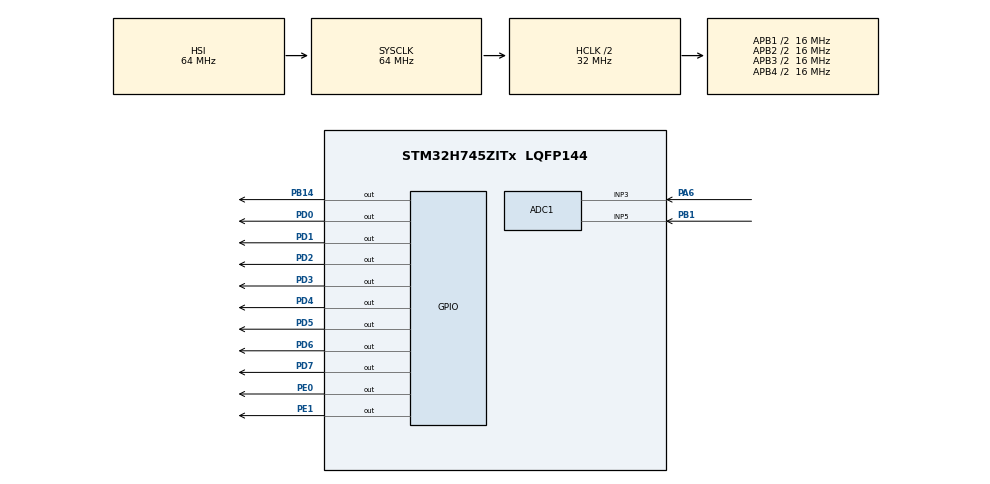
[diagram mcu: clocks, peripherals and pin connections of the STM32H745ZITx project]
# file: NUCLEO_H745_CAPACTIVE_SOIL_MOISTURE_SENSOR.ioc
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ADC1.Channel-0\#ChannelRegularConversion=ADC_CHANNEL_3
ADC1.Channel-1\#ChannelRegularConversion=ADC_CHANNEL_5
ADC1.ContinuousConvMode=DISABLE
ADC1.NbrOfConversion=2
ADC1.NbrOfConversionFlag=1
ADC1.OffsetNumber-0\#ChannelRegularConversion=ADC_OFFSET_NONE
ADC1.OffsetNumber-1\#ChannelRegularConversion=ADC_OFFSET_NONE
ADC1.OffsetSignedSaturation-0\#ChannelRegularConversion=DISABLE
ADC1.OffsetSignedSaturation-1\#ChannelRegularConversion=DISABLE
ADC1.Rank-0\#ChannelRegularConversion=1
ADC1.Rank-1\#ChannelRegularConversion=2
ADC1.SamplingTime-0\#ChannelRegularConversion=ADC_SAMPLETIME_2CYCLES_5
ADC1.SamplingTime-1\#ChannelRegularConversion=ADC_SAMPLETIME_2CYCLES_5
ADC1.master=1
CORTEX_M7.CPU_DCache=Enabled
CORTEX_M7.CPU_ICache=Enabled
CortexM4.IPs=FATFS_M4\:I,FREERTOS_M4\:I,IWDG2\:I,RCC,WWDG2\:I,DMA,BDMA,MDMA,NVIC2\:I,USART3,ETH,DEBUG,USB_DEVICE_M4\:I,USB_HOST_M4\:I,PDM2PCM_M4\:I,PWR,RESMGR_UTILITY,SYS_M4\:I,CORTEX_M4\:I,OPENAMP_M4\:I,VREFBUF
CortexM4.Pins=PE1
CortexM7.IPs=FATFS_M7\:I,FREERTOS_M7\:I,IWDG1\:I,RCC\:I,WWDG1\:I,DMA\:I,BDMA\:I,MDMA\:I,NVIC1\:I,SYS\:I,USART3\:I,USB_OTG_FS\:I,ETH\:I,CORTEX_M7\:I,DEBUG\:I,USB_DEVICE_M7\:I,USB_HOST_M7\:I,PDM2PCM_M7\:I,PWR\:I,RESMGR_UTILITY\:I,OPENAMP_M7\:I,VREFBUF\:I,TIM1\:I,TIM2\:I,ADC1\:I
CortexM7.Pins=PB14,PD0,PD1,PD2,PD3,PD4,PD5,PD6,PD7,PE0
Mcu.Family=STM32H7
Mcu.Name=STM32H745ZITx
Mcu.Package=LQFP144
NVIC1.PriorityGroup=NVIC_PRIORITYGROUP_4
NVIC2.PriorityGroup=NVIC_PRIORITYGROUP_4
PA6.PinAttribute=CortexM7
PA6.Signal=ADCx_INP3
PB1.PinAttribute=CortexM7
PB1.Signal=ADCx_INP5
PB14.PinAttribute=CortexM7
PB14.Signal=GPIO_Output
PD0.PinAttribute=CortexM7
PD0.PinState=GPIO_PIN_RESET
PD0.Signal=GPIO_Output
PD1.PinAttribute=CortexM7
PD1.Signal=GPIO_Output
PD2.PinAttribute=CortexM7
PD2.Signal=GPIO_Output
PD3.PinAttribute=CortexM7
PD3.Signal=GPIO_Output
PD4.PinAttribute=CortexM7
PD4.Signal=GPIO_Output
PD5.PinAttribute=CortexM7
PD5.Signal=GPIO_Output
PD6.PinAttribute=CortexM7
PD6.Signal=GPIO_Output
PD7.PinAttribute=CortexM7
PD7.Signal=GPIO_Output
PE0.PinAttribute=CortexM7
PE0.Signal=GPIO_Output
PE1.PinAttribute=CortexM4
PE1.Signal=GPIO_Output
ProjectManager.HeapSize=M4-0x200,M7-0x200
ProjectManager.StackSize=M4-0x400,M7-0x400
ProjectManager.TargetToolchain=STM32CubeIDE
RCC.ADCFreq_Value=32000000
RCC.APB1Freq_Value=16000000
RCC.APB2Freq_Value=16000000
RCC.APB3Freq_Value=16000000
RCC.APB4Freq_Value=16000000
RCC.CortexFreq_Value=64000000
RCC.D1PPRE=RCC_APB3_DIV2
RCC.D2PPRE1=RCC_APB1_DIV2
RCC.D2PPRE2=RCC_APB2_DIV2
RCC.D3PPRE=RCC_APB4_DIV2
RCC.DIVM1=5
RCC.DIVM2=4
RCC.DIVM3=1
RCC.DIVN1=160
RCC.DIVN2=10
RCC.DIVN3=24
RCC.DIVP2=5
RCC.DIVQ3=4
RCC.HCLKFreq_Value=32000000
RCC.HPRE=RCC_HCLK_DIV2
RCC.HSE_VALUE=25000000
RCC.PLL2FRACN=0
RCC.PLL3FRACN=0
RCC.PLLFRACN=0
RCC.SYSCLKFreq_VALUE=64000000
RCC.SupplySource=PWR_DIRECT_SMPS_SUPPLY
RCC.USBCLockSelection=RCC_USBCLKSOURCE_PLL3
RCC.USBFreq_Value=384000000
SH.ADCx_INP3.0=ADC1_INP3,IN3-Single-Ended
SH.ADCx_INP5.0=ADC1_INP5,IN5-Single-Ended
TIM1.Prescaler=1-1
TIM2.Period=4294967296-1
TIM2.Prescaler=32-1
VP_SYS_M4_VS_Systick.Mode=SysTick
VP_TIM1_VS_ClockSourceINT.Mode=Internal
VP_TIM2_VS_ClockSourceINT.Mode=Internal
board=NUCLEO-H745ZI-Q

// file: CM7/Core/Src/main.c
/* USER CODE BEGIN Header */
/**
  ******************************************************************************
  * @file           : main.c
  * @brief          : Main program body
  ******************************************************************************
  * @attention
  *
  * <h2><center>&copy; Copyright (c) 2021 STMicroelectronics.
  * All rights reserved.</center></h2>
  *
  * This software component is licensed by ST under BSD 3-Clause license,
  * the "License"; You may not use this file except in compliance with the
  * License. You may obtain a copy of the License at:
  *                        opensource.org/licenses/BSD-3-Clause
  *
  ******************************************************************************
  */
/* USER CODE END Header */
#include "main.h"

/* USER CODE BEGIN Includes */

#include "dht11_temp_sensor.h"
#include "nhd_20x4_LCD.h"
#include "DFRobot_soil_sensor.h"

/* USER CODE END Includes */

/* USER CODE BEGIN PD */

#ifndef HSEM_ID_0
#define HSEM_ID_0 (0U) /* HW semaphore 0*/
#endif
/* USER CODE END PD */

TIM_HandleTypeDef htim1;
TIM_HandleTypeDef htim2;

void SystemClock_Config(void);
static void MX_GPIO_Init(void);
static void MX_TIM1_Init(void);
static void MX_TIM2_Init(void);
static void MX_ADC1_Init(void);
/* USER CODE BEGIN PFP */

void Display_Temp_Rh (float,float);
void Display_Rh (float);
void Display_Soil_Moisture (int,int);
void poll_SOIL_SENSOR(void);

/* USER CODE END PFP */

/* USER CODE BEGIN 0 */

void Display_Temp_Rh(float Temp, float Rh)
{
	char str_temp[15] = {0},
			str_Rh[15] = {0};
	//lcd_clear();
	lcd_put_cur(0, 0);

	sprintf (str_temp, "TEMP: %.1f", Temp);
	sprintf (str_Rh, "RH: %.0f", Rh);
	lcd_send_string(str_temp);
	lcd_send_data('C');
	lcd_put_cur(1, 0);
	lcd_send_string(str_Rh);
	lcd_send_data('%');
}

void Display_Soil_Moisture(int Sensor1,int Sensor2)
{
	char str_1[20], str_2[20];

	lcd_put_cur(0, 0);

	sprintf (str_1, "SoilSensor1: %i ", Sensor1);
	sprintf (str_2, "SoilSensor2: %i ", Sensor2);
	lcd_send_string(str_1);
	lcd_put_cur(1, 0);
	lcd_send_string(str_2);
	HAL_GPIO_TogglePin(GPIOB, GPIO_PIN_14); //Debugging LED
	//lcd_send_data('%');
}

void Display_Rh(float Rh) //display Rh after temp
{
	char str[20] = {0};
	lcd_put_cur(1, 0);

	sprintf (str, "RH:- %.0f ", Rh);
	lcd_send_string(str);
	lcd_send_data('%');
}

/* USER CODE END 0 */

int main(void)
{
/* USER CODE BEGIN Boot_Mode_Sequence_0 */
  int32_t timeout;
/* USER CODE END Boot_Mode_Sequence_0 */

  /* Enable I-Cache---------------------------------------------------------*/
  SCB_EnableICache();

  /* Enable D-Cache---------------------------------------------------------*/
  SCB_EnableDCache();

/* USER CODE BEGIN Boot_Mode_Sequence_1 */
  /* Wait until CPU2 boots and enters in stop mode or timeout*/
//  timeout = 0xFFFF;
//  while((__HAL_RCC_GET_FLAG(RCC_FLAG_D2CKRDY) != RESET) && (timeout-- > 0));
//  if ( timeout < 0 )
//  {
//  Error_Handler();
//  }
/* USER CODE END Boot_Mode_Sequence_1 */
  /* MCU Configuration--------------------------------------------------------*/

  /* Reset of all peripherals, Initializes the Flash interface and the Systick. */
  HAL_Init();

  /* Configure the system clock */
  SystemClock_Config();
/* USER CODE BEGIN Boot_Mode_Sequence_2 */
/* When system initialization is finished, Cortex-M7 will release Cortex-M4 by means of
HSEM notification */
/*HW semaphore Clock enable*/
__HAL_RCC_HSEM_CLK_ENABLE();
/*Take HSEM */
//HAL_HSEM_FastTake(HSEM_ID_0);
///*Release HSEM in order to notify the CPU2(CM4)*/
//HAL_HSEM_Release(HSEM_ID_0,0);
///* wait until CPU2 wakes up from stop mode */
//timeout = 0xFFFF;
//while((__HAL_RCC_GET_FLAG(RCC_FLAG_D2CKRDY) == RESET) && (timeout-- > 0));
//if ( timeout < 0 )
//{
//Error_Handler();
//}
/* USER CODE END Boot_Mode_Sequence_2 */

  /* Initialize all configured peripherals */
  MX_GPIO_Init();
  MX_TIM1_Init();
  MX_TIM2_Init();
  MX_ADC1_Init();
  /* USER CODE BEGIN 2 */

  nhd_LCD_Init();
  lcd_put_cur(0,1);
  lcd_send_string("hiiiii there");				//LCD splashscreen
  HAL_GPIO_WritePin (DHT11_PORT, DHT11_PIN, 1); // pull the pin high for initial config routine
  HAL_Delay(3000);								//wait 3 seconds
  //delay_TEST();

  /* USER CODE END 2 */

  /* Infinite loop */
  while(1)
  {

    /* USER CODE BEGIN 3 */
	  lcd_clear();
	  poll_DHT11();
	  Display_Temp_Rh(Temperature,Humidity);
	  //Display_Rh(Humidity);
	  HAL_Delay(2000);			//display temp data for 4 seconds
	  lcd_clear();
	  poll_SOIL_SENSOR_1_2();
	  Display_Soil_Moisture(SoilSensor1,SoilSensor2);
	  HAL_Delay(2000);			//display  soil data for 4 seconds

  }
  /* USER CODE END 3 */
}

void SystemClock_Config(void)
{
  RCC_OscInitTypeDef RCC_OscInitStruct = {0};
  RCC_ClkInitTypeDef RCC_ClkInitStruct = {0};

  /** Supply configuration update enable
  */
  HAL_PWREx_ConfigSupply(PWR_DIRECT_SMPS_SUPPLY);
  /** Configure the main internal regulator output voltage
  */
  __HAL_PWR_VOLTAGESCALING_CONFIG(PWR_REGULATOR_VOLTAGE_SCALE3);

  while(!__HAL_PWR_GET_FLAG(PWR_FLAG_VOSRDY)) {}
  /** Macro to configure the PLL clock source
  */
  __HAL_RCC_PLL_PLLSOURCE_CONFIG(RCC_PLLSOURCE_HSI);
  /** Initializes the RCC Oscillators according to the specified parameters
  * in the RCC_OscInitTypeDef structure.
  */
  RCC_OscInitStruct.OscillatorType = RCC_OSCILLATORTYPE_HSI;
  RCC_OscInitStruct.HSIState = RCC_HSI_DIV1;
  RCC_OscInitStruct.HSICalibrationValue = RCC_HSICALIBRATION_DEFAULT;
  RCC_OscInitStruct.PLL.PLLState = RCC_PLL_NONE;
  RCC_OscInitStruct.PLL.PLLSource = RCC_PLLSOURCE_HSI;
  if (HAL_RCC_OscConfig(&RCC_OscInitStruct) != HAL_OK)
  {
    Error_Handler();
  }
  /** Initializes the CPU, AHB and APB buses clocks
  */
  RCC_ClkInitStruct.ClockType = RCC_CLOCKTYPE_HCLK|RCC_CLOCKTYPE_SYSCLK
                              |RCC_CLOCKTYPE_PCLK1|RCC_CLOCKTYPE_PCLK2
                              |RCC_CLOCKTYPE_D3PCLK1|RCC_CLOCKTYPE_D1PCLK1;
  RCC_ClkInitStruct.SYSCLKSource = RCC_SYSCLKSOURCE_HSI;
  RCC_ClkInitStruct.SYSCLKDivider = RCC_SYSCLK_DIV1;
  RCC_ClkInitStruct.AHBCLKDivider = RCC_HCLK_DIV2;
  RCC_ClkInitStruct.APB3CLKDivider = RCC_APB3_DIV2;
  RCC_ClkInitStruct.APB1CLKDivider = RCC_APB1_DIV2;
  RCC_ClkInitStruct.APB2CLKDivider = RCC_APB2_DIV2;
  RCC_ClkInitStruct.APB4CLKDivider = RCC_APB4_DIV2;

  if (HAL_RCC_ClockConfig(&RCC_ClkInitStruct, FLASH_LATENCY_0) != HAL_OK)
  {
    Error_Handler();
  }
}

static void MX_ADC1_Init(void)
{

  ADC_MultiModeTypeDef multimode = {0};
  ADC_ChannelConfTypeDef sConfig = {0};

  /** Common config
  */
  hadc1.Instance = ADC1;
  hadc1.Init.ClockPrescaler = ADC_CLOCK_ASYNC_DIV1;
  hadc1.Init.Resolution = ADC_RESOLUTION_16B;
  hadc1.Init.ScanConvMode = ADC_SCAN_ENABLE;
  hadc1.Init.EOCSelection = ADC_EOC_SINGLE_CONV;
  hadc1.Init.LowPowerAutoWait = DISABLE;
  hadc1.Init.ContinuousConvMode = DISABLE;
  hadc1.Init.NbrOfConversion = 1;
  hadc1.Init.DiscontinuousConvMode = DISABLE;
  hadc1.Init.ExternalTrigConv = ADC_SOFTWARE_START;
  hadc1.Init.ExternalTrigConvEdge = ADC_EXTERNALTRIGCONVEDGE_NONE;
  hadc1.Init.ConversionDataManagement = ADC_CONVERSIONDATA_DR;
  hadc1.Init.Overrun = ADC_OVR_DATA_PRESERVED;
  hadc1.Init.LeftBitShift = ADC_LEFTBITSHIFT_NONE;
  hadc1.Init.OversamplingMode = DISABLE;
  if (HAL_ADC_Init(&hadc1) != HAL_OK)
  {
    Error_Handler();
  }
  /** Configure the ADC multi-mode
  */
/*  multimode.Mode = ADC_MODE_INDEPENDENT;
  if (HAL_ADCEx_MultiModeConfigChannel(&hadc1, &multimode) != HAL_OK)
  {
    Error_Handler();
  }
  * Configure Regular Channel

  sConfig.Channel = ADC_CHANNEL_3;
  sConfig.Rank = ADC_REGULAR_RANK_1;
  sConfig.SamplingTime = ADC_SAMPLETIME_2CYCLES_5;
  sConfig.SingleDiff = ADC_SINGLE_ENDED;
  sConfig.OffsetNumber = ADC_OFFSET_NONE;
  sConfig.Offset = 0;
  sConfig.OffsetSignedSaturation = DISABLE;
  if (HAL_ADC_ConfigChannel(&hadc1, &sConfig) != HAL_OK)
  {
    Error_Handler();
  }
  * Configure Regular Channel

  sConfig.Channel = ADC_CHANNEL_5;
  sConfig.Rank = ADC_REGULAR_RANK_2;
  if (HAL_ADC_ConfigChannel(&hadc1, &sConfig) != HAL_OK)
  {
    Error_Handler();
  }*/

}

static void MX_TIM1_Init(void)
{

  TIM_ClockConfigTypeDef sClockSourceConfig = {0};
  TIM_MasterConfigTypeDef sMasterConfig = {0};

  htim1.Instance = TIM1;
  htim1.Init.Prescaler = 1-1;
  htim1.Init.CounterMode = TIM_COUNTERMODE_UP;
  htim1.Init.Period = 65535;
  htim1.Init.ClockDivision = TIM_CLOCKDIVISION_DIV1;
  htim1.Init.RepetitionCounter = 0;
  htim1.Init.AutoReloadPreload = TIM_AUTORELOAD_PRELOAD_DISABLE;
  if (HAL_TIM_Base_Init(&htim1) != HAL_OK)
  {
    Error_Handler();
  }
  sClockSourceConfig.ClockSource = TIM_CLOCKSOURCE_INTERNAL;
  if (HAL_TIM_ConfigClockSource(&htim1, &sClockSourceConfig) != HAL_OK)
  {
    Error_Handler();
  }
  sMasterConfig.MasterOutputTrigger = TIM_TRGO_RESET;
  sMasterConfig.MasterOutputTrigger2 = TIM_TRGO2_RESET;
  sMasterConfig.MasterSlaveMode = TIM_MASTERSLAVEMODE_DISABLE;
  if (HAL_TIMEx_MasterConfigSynchronization(&htim1, &sMasterConfig) != HAL_OK)
  {
    Error_Handler();
  }

}

static void MX_TIM2_Init(void)
{

  TIM_ClockConfigTypeDef sClockSourceConfig = {0};
  TIM_MasterConfigTypeDef sMasterConfig = {0};

  htim2.Instance = TIM2;
  htim2.Init.Prescaler = 32-1;
  htim2.Init.CounterMode = TIM_COUNTERMODE_UP;
  htim2.Init.Period = 4294967296-1;
  htim2.Init.ClockDivision = TIM_CLOCKDIVISION_DIV1;
  htim2.Init.AutoReloadPreload = TIM_AUTORELOAD_PRELOAD_DISABLE;
  if (HAL_TIM_Base_Init(&htim2) != HAL_OK)
  {
    Error_Handler();
  }
  sClockSourceConfig.ClockSource = TIM_CLOCKSOURCE_INTERNAL;
  if (HAL_TIM_ConfigClockSource(&htim2, &sClockSourceConfig) != HAL_OK)
  {
    Error_Handler();
  }
  sMasterConfig.MasterOutputTrigger = TIM_TRGO_RESET;
  sMasterConfig.MasterSlaveMode = TIM_MASTERSLAVEMODE_DISABLE;
  if (HAL_TIMEx_MasterConfigSynchronization(&htim2, &sMasterConfig) != HAL_OK)
  {
    Error_Handler();
  }

}

static void MX_GPIO_Init(void)
{
  GPIO_InitTypeDef GPIO_InitStruct = {0};

  /* GPIO Ports Clock Enable */
  __HAL_RCC_GPIOA_CLK_ENABLE();
  __HAL_RCC_GPIOB_CLK_ENABLE();
  __HAL_RCC_GPIOD_CLK_ENABLE();
  __HAL_RCC_GPIOE_CLK_ENABLE();

  /*Configure GPIO pin Output Level */
  HAL_GPIO_WritePin(GPIOB, GPIO_PIN_14, GPIO_PIN_RESET);

  /*Configure GPIO pin Output Level */
  HAL_GPIO_WritePin(GPIOD, GPIO_PIN_0|GPIO_PIN_1|GPIO_PIN_2|GPIO_PIN_3
                          |GPIO_PIN_4|GPIO_PIN_5|GPIO_PIN_6|GPIO_PIN_7, GPIO_PIN_RESET);

  /*Configure GPIO pin Output Level */
  HAL_GPIO_WritePin(GPIOE, GPIO_PIN_0, GPIO_PIN_RESET);

  /*Configure GPIO pin : PB14 */
  GPIO_InitStruct.Pin = GPIO_PIN_14;
  GPIO_InitStruct.Mode = GPIO_MODE_OUTPUT_PP;
  GPIO_InitStruct.Pull = GPIO_NOPULL;
  GPIO_InitStruct.Speed = GPIO_SPEED_FREQ_LOW;
  HAL_GPIO_Init(GPIOB, &GPIO_InitStruct);

  /*Configure GPIO pins : PD0 PD1 PD2 PD3
                           PD4 PD5 PD6 PD7 */
  GPIO_InitStruct.Pin = GPIO_PIN_0|GPIO_PIN_1|GPIO_PIN_2|GPIO_PIN_3
                          |GPIO_PIN_4|GPIO_PIN_5|GPIO_PIN_6|GPIO_PIN_7;
  GPIO_InitStruct.Mode = GPIO_MODE_OUTPUT_PP;
  GPIO_InitStruct.Pull = GPIO_NOPULL;
  GPIO_InitStruct.Speed = GPIO_SPEED_FREQ_LOW;
  HAL_GPIO_Init(GPIOD, &GPIO_InitStruct);

  /*Configure GPIO pin : PE0 */
  GPIO_InitStruct.Pin = GPIO_PIN_0;
  GPIO_InitStruct.Mode = GPIO_MODE_OUTPUT_PP;
  GPIO_InitStruct.Pull = GPIO_NOPULL;
  GPIO_InitStruct.Speed = GPIO_SPEED_FREQ_LOW;
  HAL_GPIO_Init(GPIOE, &GPIO_InitStruct);

}

/* USER CODE BEGIN 4 */

// Callback: timer has rolled over
void HAL_TIM_PeriodElapsedCallback(TIM_HandleTypeDef *htim)
{
  // Check which version of the timer triggered this callback and toggle LED
	if (htim == &htim2 )
	{
		HAL_GPIO_TogglePin(GPIOE, GPIO_PIN_0);
	}
}

/* USER CODE END 4 */

void Error_Handler(void)
{
  __disable_irq();
  while (1)
  {
  }
}

/************************ (C) COPYRIGHT STMicroelectronics *****END OF FILE****/
